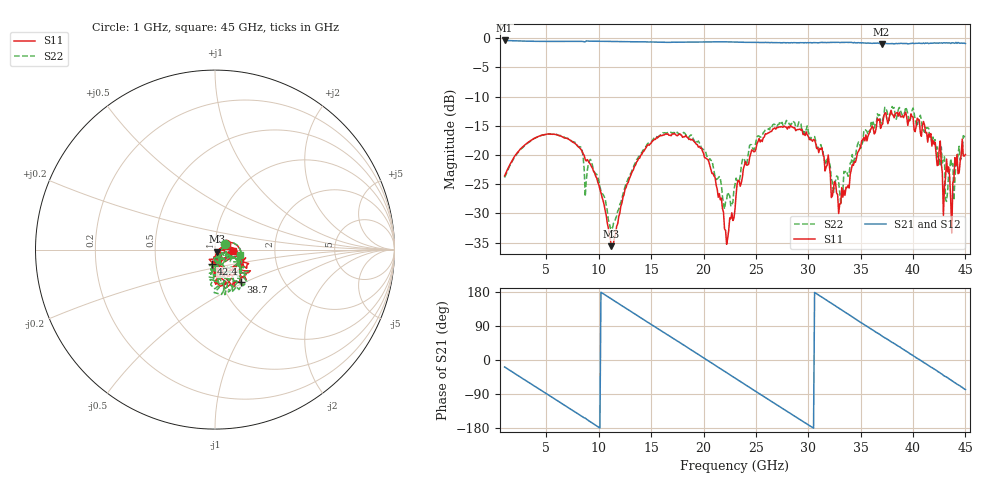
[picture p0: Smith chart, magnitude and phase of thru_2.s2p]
!Keysight Technologies,N5247B,MY61255062,A.19.80.06
!Date: Monday, May 18, 2026 12:43:58
!Correction: S11(Cdelta 2-Port  )
!S21(Cdelta 2-Port  )
!S12(Cdelta 2-Port  )
!S22(Cdelta 2-Port  )
!S2P File: Measurements: S11, S21, S12, S22:
# Hz S  dB  R 50
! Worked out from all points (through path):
!   441 points, 1 GHz to 45 GHz, reference 50 ohm
!   highest |S21| = -0.40 dB at 1 GHz (marker M1); lowest = -1.0 dB at 37 GHz (marker M2)
!   group delay of S21, straight-line fit = 49.2 ps
!   lowest |S11| = -35.6 dB at 11.2 GHz (marker M3), VSWR 1.03, Z = 51.1 - j1.25 ohm
!   |S11| at or under -10 dB: start of sweep to end of sweep
!   |S22| runs from -32.6 to -11.7 dB; largest |S21 - S12| = 0.017
!   S11 on the Smith chart (normalised r, x): 1 GHz: 1.12, +0.07; 38.7 GHz: 1.23, -0.48; 42.4 GHz: 0.95, -0.15; 45 GHz: 1.22, -0.02
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1e9  -23.58 27.9  -0.40 -18.4  -0.40 -18.4  -23.86 28.4
4.8e9  -16.55 -12.8  -0.56 -85.5  -0.56 -85.5  -16.53 -11.5
8.4e9  -19.41 -67.2  -0.57 -149.2  -0.57 -149.2  -19.17 -61.7
1.12e10  -35.61 -47.5  -0.58 161.0  -0.57 161.0  -32.24 -45.8
1.32e10  -22.79 12.5  -0.63 125.7  -0.63 125.7  -22.47 6.2
1.57e10  -16.81 -19.9  -0.69 81.4  -0.69 81.4  -16.91 -22.0
1.96e10  -18.52 -78.0  -0.67 13.0  -0.67 13.0  -17.96 -74.2
2.22e10  -35.29 -69.0  -0.66 -33.6  -0.65 -33.5  -27.64 -66.1
2.3e10  -29.28 -5.6  -0.69 -47.8  -0.67 -47.8  -25.11 -23.6
2.4e10  -21.13 6.2  -0.72 -65.6  -0.72 -65.5  -21.68 -6.0
2.64e10  -15.97 -25.5  -0.77 -107.9  -0.76 -107.8  -15.11 -35.1
3.04e10  -17.67 -80.6  -0.81 -178.1  -0.77 -178.2  -16.89 -93.7
3.29e10  -30.02 -39.9  -0.71 137.1  -0.73 137.1  -24.70 -47.3
3.5e10  -18.66 -6.4  -0.78 99.3  -0.78 99.5  -18.87 -10.3
3.7e10  -14.89 -29.3  -0.99 64.3  -0.97 64.2  -14.57 -39.3
3.77e10  -13.89 -46.2  -0.97 52.1  -0.96 52.0  -14.10 -49.9
3.87e10  -12.70 -51.9  -0.93 35.0  -0.96 34.8  -11.87 -68.5
4.24e10  -21.73 -103.7  -0.88 -31.0  -0.81 -30.3  -21.97 -100.9
4.29e10  -30.36 -24.6  -0.81 -40.6  -0.84 -40.5  -20.60 -79.5
4.33e10  -22.91 -58.0  -0.84 -47.1  -0.81 -47.4  -26.33 -89.6
4.37e10  -33.37 -51.1  -0.81 -54.1  -0.78 -54.4  -21.98 -39.0
4.5e10  -19.94 -5.5  -0.93 -77.9  -0.91 -77.6  -16.77 -12.7
